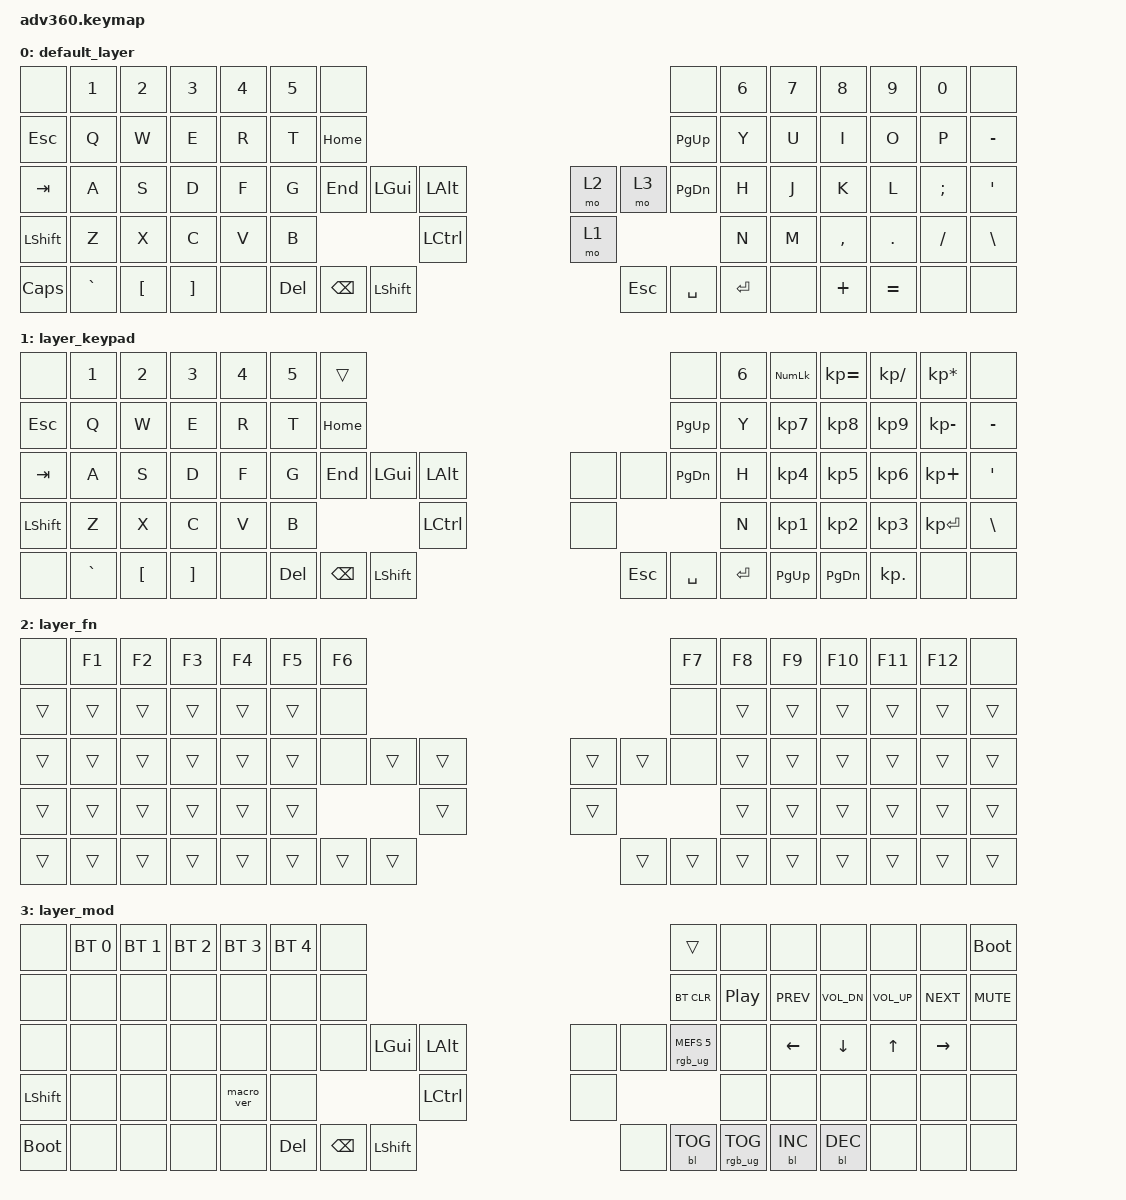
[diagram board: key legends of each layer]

/*
 * Copyright (c) 2020 The ZMK Contributors
 *
 * SPDX-License-Identifier: MIT
 */


/* THIS FILE WAS GENERATED!
 *
 * This file was generated automatically. You may or may not want to
 * edit it directly.
 */

#include <behaviors.dtsi>
#include <dt-bindings/zmk/keys.h>
#include <dt-bindings/zmk/bt.h>
#include <dt-bindings/zmk/rgb.h>
#include <dt-bindings/zmk/backlight.h>

/ {
  behaviors {
    #include "macros.dtsi"
    #include "version.dtsi"

    hm: homerow_mods {
        compatible = "zmk,behavior-hold-tap";
        label = "HOMEROW_MODS";
        #binding-cells = <2>;
        tapping-term-ms = <200>;
        quick_tap_ms = <175>;
        flavor = "tap-preferred";
        bindings = <&kp>, <&kp>;
    };
  };

    keymap {
        compatible = "zmk,keymap";


        default_layer {
            bindings = <
          &none     &kp N1            &kp N2             &kp N3  &kp N4  &kp N5                 &none                                                                           &none  &kp N6  &kp N7     &kp N8     &kp N9    &kp N0          &none
     &kp ESCAPE      &kp Q             &kp W              &kp E   &kp R   &kp T              &kp HOME                                                                       &kp PG_UP   &kp Y   &kp U      &kp I      &kp O     &kp P      &kp MINUS
        &kp TAB      &kp A             &kp S              &kp D   &kp F   &kp G               &kp END       &kp LGUI          &kp LALT                    &mo 2      &mo 3  &kp PG_DN   &kp H   &kp J      &kp K      &kp L  &kp SEMI        &kp SQT
 &kp LEFT_SHIFT      &kp Z             &kp X              &kp C   &kp V   &kp B                                       &kp LEFT_CONTROL                    &mo 1                         &kp N   &kp M  &kp COMMA    &kp DOT  &kp FSLH  &kp BACKSLASH
       &kp CAPS  &kp GRAVE  &kp LEFT_BRACKET  &kp RIGHT_BRACKET   &none                    &kp DELETE  &kp BACKSPACE    &kp LEFT_SHIFT                  &kp ESC  &kp SPACE  &kp ENTER           &none   &kp PLUS  &kp EQUAL     &none          &none
            >;
        };

        layer_keypad {
            bindings = <
      &none     &kp N1            &kp N2             &kp N3  &kp N4  &kp N5                &trans                                                                               &none  &kp N6   &kp KP_NUM   &kp KP_EQUAL  &kp KP_DIVIDE  &kp KP_MULTIPLY          &none
 &kp ESCAPE      &kp Q             &kp W              &kp E   &kp R   &kp T              &kp HOME                                                                         &kp PAGE_UP   &kp Y    &kp KP_N7      &kp KP_N8      &kp KP_N9     &kp KP_MINUS      &kp MINUS
    &kp TAB      &kp A             &kp S              &kp D   &kp F   &kp G               &kp END       &kp LGUI          &kp LALT                    &none      &none  &kp PAGE_DOWN   &kp H    &kp KP_N4      &kp KP_N5      &kp KP_N6      &kp KP_PLUS        &kp SQT
  &kp LSHFT      &kp Z             &kp X              &kp C   &kp V   &kp B                                       &kp LEFT_CONTROL                    &none                             &kp N    &kp KP_N1      &kp KP_N2      &kp KP_N3     &kp KP_ENTER  &kp BACKSLASH
      &none  &kp GRAVE  &kp LEFT_BRACKET  &kp RIGHT_BRACKET   &none                    &kp DELETE  &kp BACKSPACE    &kp LEFT_SHIFT                  &kp ESC  &kp SPACE      &kp ENTER          &kp PAGE_UP  &kp PAGE_DOWN     &kp KP_DOT            &none          &none
            >;
        };

        layer_fn {
            bindings = <
  &none  &kp F1  &kp F2  &kp F3  &kp F4  &kp F5            &kp F6                                                  &kp F7  &kp F8  &kp F9  &kp F10  &kp F11  &kp F12   &none
 &trans  &trans  &trans  &trans  &trans  &trans             &none                                                   &none  &trans  &trans   &trans   &trans   &trans  &trans
 &trans  &trans  &trans  &trans  &trans  &trans             &none  &trans  &trans                  &trans  &trans   &none  &trans  &trans   &trans   &trans   &trans  &trans
 &trans  &trans  &trans  &trans  &trans  &trans                            &trans                  &trans                  &trans  &trans   &trans   &trans   &trans  &trans
 &trans  &trans  &trans  &trans  &trans                    &trans  &trans  &trans                  &trans  &trans  &trans          &trans   &trans   &trans   &trans  &trans
            >;
        };

        layer_mod {
            bindings = <
          &none      &bt BT_SEL 0  &bt BT_SEL 1  &bt BT_SEL 2  &bt BT_SEL 3  &bt BT_SEL 4          &none                                                                                       &trans             &none       &none         &none         &none       &none  &bootloader
          &none         &none         &none         &none         &none         &none                 &none                                                                                   &bt BT_CLR  &kp C_PLAY_PAUSE  &kp C_PREV  &kp C_VOL_DN  &kp C_VOL_UP  &kp C_NEXT        &kp C_MUTE
          &none         &none         &none         &none         &none         &none                 &none       &kp LGUI          &kp LALT                   &none       &none  &rgb_ug RGB_MEFS_CMD 5             &none    &kp LEFT      &kp DOWN        &kp UP   &kp RIGHT        &none
 &kp LEFT_SHIFT         &none         &none         &none    &macro_ver         &none                                       &kp LEFT_CONTROL                   &none                                                 &none       &none         &none         &none       &none        &none
    &bootloader         &none         &none         &none         &none                          &kp DELETE  &kp BACKSPACE    &kp LEFT_SHIFT                   &none  &bl BL_TOG         &rgb_ug RGB_TOG                    &bl BL_INC    &bl BL_DEC         &none       &none        &none
            >;
        };

    };
};
